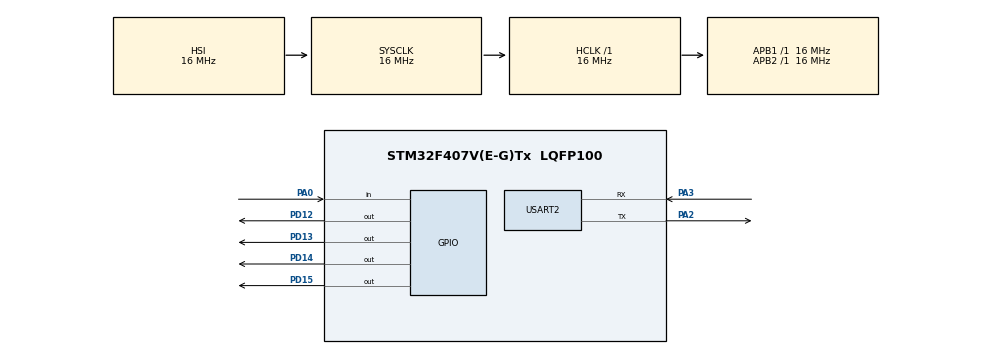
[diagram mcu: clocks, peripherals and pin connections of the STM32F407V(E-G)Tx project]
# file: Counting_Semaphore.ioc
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FREERTOS.Tasks01=defaultTask,0,128,StartDefaultTask,Default,NULL,Dynamic,NULL,NULL
FREERTOS.configUSE_COUNTING_SEMAPHORES=1
FREERTOS.configUSE_NEWLIB_REENTRANT=1
Mcu.Family=STM32F4
Mcu.Name=STM32F407V(E-G)Tx
Mcu.Package=LQFP100
NVIC.PriorityGroup=NVIC_PRIORITYGROUP_4
NVIC.TIM1_UP_TIM10_IRQn=true\:15\:0\:false\:false\:true\:false\:false\:true\:true
NVIC.TimeBase=TIM1_UP_TIM10_IRQn
NVIC.TimeBaseIP=TIM1
PA0-WKUP.Signal=GPIO_Input
PA13.Mode=Serial_Wire
PA13.Signal=SYS_JTMS-SWDIO
PA14.Mode=Serial_Wire
PA14.Signal=SYS_JTCK-SWCLK
PA2.Mode=Asynchronous
PA2.Signal=USART2_TX
PA3.Mode=Asynchronous
PA3.Signal=USART2_RX
PD12.Signal=GPIO_Output
PD13.Signal=GPIO_Output
PD14.Signal=GPIO_Output
PD15.Signal=GPIO_Output
PH0-OSC_IN.Mode=HSE-External-Oscillator
PH0-OSC_IN.Signal=RCC_OSC_IN
PH1-OSC_OUT.Mode=HSE-External-Oscillator
PH1-OSC_OUT.Signal=RCC_OSC_OUT
ProjectManager.HeapSize=0x200
ProjectManager.StackSize=0x400
ProjectManager.TargetToolchain=STM32CubeIDE
RCC.AHBFreq_Value=16000000
RCC.APB1Freq_Value=16000000
RCC.APB2Freq_Value=16000000
RCC.CortexFreq_Value=16000000
RCC.HSE_VALUE=25000000
RCC.HSI_VALUE=16000000
RCC.LSE_VALUE=32768
RCC.SYSCLKFreq_VALUE=16000000
RCC.VCOOutputFreq_Value=192000000
USART2.VirtualMode=VM_ASYNC
VP_FREERTOS_VS_CMSIS_V1.Mode=CMSIS_V1
VP_SYS_VS_tim1.Mode=TIM1
board=custom

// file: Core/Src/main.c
/* USER CODE BEGIN Header */
/**
  ******************************************************************************
  * @file           : main.c
  * @brief          : Main program body
  ******************************************************************************
  * @attention
  *
  * Copyright (c) 2023 STMicroelectronics.
  * All rights reserved.
  *
  * This software is licensed under terms that can be found in the LICENSE file
  * in the root directory of this software component.
  * If no LICENSE file comes with this software, it is provided AS-IS.
  *
  ******************************************************************************
  */
/* USER CODE END Header */
#include "main.h"
//#include "cmsis_os.h"

/* USER CODE BEGIN Includes */
#include "FreeRTOS.h"
#include "task.h"
#include "timers.h"
#include "queue.h"
#include "semphr.h"
#include "event_groups.h"

#include "stdlib.h"
#include "string.h"
/* USER CODE END Includes */

UART_HandleTypeDef huart2;

void SystemClock_Config(void);
static void MX_GPIO_Init(void);
static void MX_USART2_UART_Init(void);

/* USER CODE BEGIN 0 */
TaskHandle_t HPThandler;
void HPT_Task(void *pvParameters);

TaskHandle_t LPThandler;
void LPT_Task(void *pvParameters);

TaskHandle_t MPThandler;
void MPT_Task(void *pvParameters);

TaskHandle_t VLPThandler;
void VLPT_Task(void *pvParameters);

SemaphoreHandle_t CountingSem;

int resource[3] = {111, 222, 333};
int _index = 0;

uint8_t rx_data = 0;
/* USER CODE END 0 */

int main(void)
{

  /* MCU Configuration--------------------------------------------------------*/

  /* Reset of all peripherals, Initializes the Flash interface and the Systick. */
  HAL_Init();

  /* Configure the system clock */
  SystemClock_Config();

  /* Initialize all configured peripherals */
  MX_GPIO_Init();
  MX_USART2_UART_Init();
  /* USER CODE BEGIN 2 */

  HAL_UART_Receive_IT(&huart2, &rx_data, 1);

  CountingSem = xSemaphoreCreateCounting(3, 0);
  if(CountingSem == NULL) HAL_UART_Transmit(&huart2, (uint8_t *)"Unable to create Semaphore\n", 28, 100);
  else HAL_UART_Transmit(&huart2, (uint8_t *)"Semaphore created successfully\n", 41, 100);

  xTaskCreate(HPT_Task, "HPT", 128, NULL, 3, &HPThandler);
  xTaskCreate(LPT_Task, "LPT", 128, NULL, 1, &LPThandler);
  xTaskCreate(MPT_Task, "MPT", 128, NULL, 2, &MPThandler);
  xTaskCreate(VLPT_Task, "VLPT", 128, NULL, 0, &VLPThandler);
  /* USER CODE END 2 */

  vTaskStartScheduler();
  /* We should never get here as control is now taken by the scheduler */
  /* Infinite loop */
  while (1)
  {

  }
}

void SystemClock_Config(void)
{
  RCC_OscInitTypeDef RCC_OscInitStruct = {0};
  RCC_ClkInitTypeDef RCC_ClkInitStruct = {0};

  /** Configure the main internal regulator output voltage
  */
  __HAL_RCC_PWR_CLK_ENABLE();
  __HAL_PWR_VOLTAGESCALING_CONFIG(PWR_REGULATOR_VOLTAGE_SCALE1);

  /** Initializes the RCC Oscillators according to the specified parameters
  * in the RCC_OscInitTypeDef structure.
  */
  RCC_OscInitStruct.OscillatorType = RCC_OSCILLATORTYPE_HSI;
  RCC_OscInitStruct.HSIState = RCC_HSI_ON;
  RCC_OscInitStruct.HSICalibrationValue = RCC_HSICALIBRATION_DEFAULT;
  RCC_OscInitStruct.PLL.PLLState = RCC_PLL_NONE;
  if (HAL_RCC_OscConfig(&RCC_OscInitStruct) != HAL_OK)
  {
    Error_Handler();
  }

  /** Initializes the CPU, AHB and APB buses clocks
  */
  RCC_ClkInitStruct.ClockType = RCC_CLOCKTYPE_HCLK|RCC_CLOCKTYPE_SYSCLK
                              |RCC_CLOCKTYPE_PCLK1|RCC_CLOCKTYPE_PCLK2;
  RCC_ClkInitStruct.SYSCLKSource = RCC_SYSCLKSOURCE_HSI;
  RCC_ClkInitStruct.AHBCLKDivider = RCC_SYSCLK_DIV1;
  RCC_ClkInitStruct.APB1CLKDivider = RCC_HCLK_DIV1;
  RCC_ClkInitStruct.APB2CLKDivider = RCC_HCLK_DIV1;

  if (HAL_RCC_ClockConfig(&RCC_ClkInitStruct, FLASH_LATENCY_0) != HAL_OK)
  {
    Error_Handler();
  }
}

static void MX_USART2_UART_Init(void)
{

  huart2.Instance = USART2;
  huart2.Init.BaudRate = 115200;
  huart2.Init.WordLength = UART_WORDLENGTH_8B;
  huart2.Init.StopBits = UART_STOPBITS_1;
  huart2.Init.Parity = UART_PARITY_NONE;
  huart2.Init.Mode = UART_MODE_TX_RX;
  huart2.Init.HwFlowCtl = UART_HWCONTROL_NONE;
  huart2.Init.OverSampling = UART_OVERSAMPLING_16;
  if (HAL_UART_Init(&huart2) != HAL_OK)
  {
    Error_Handler();
  }

}

static void MX_GPIO_Init(void)
{
  GPIO_InitTypeDef GPIO_InitStruct = {0};

  /* GPIO Ports Clock Enable */
  __HAL_RCC_GPIOH_CLK_ENABLE();
  __HAL_RCC_GPIOA_CLK_ENABLE();
  __HAL_RCC_GPIOD_CLK_ENABLE();

  /*Configure GPIO pin Output Level */
  HAL_GPIO_WritePin(GPIOD, GPIO_PIN_12|GPIO_PIN_13|GPIO_PIN_14|GPIO_PIN_15, GPIO_PIN_RESET);

  /*Configure GPIO pin : PA0 */
  GPIO_InitStruct.Pin = GPIO_PIN_0;
  GPIO_InitStruct.Mode = GPIO_MODE_INPUT;
  GPIO_InitStruct.Pull = GPIO_NOPULL;
  HAL_GPIO_Init(GPIOA, &GPIO_InitStruct);

  /*Configure GPIO pins : PD12 PD13 PD14 PD15 */
  GPIO_InitStruct.Pin = GPIO_PIN_12|GPIO_PIN_13|GPIO_PIN_14|GPIO_PIN_15;
  GPIO_InitStruct.Mode = GPIO_MODE_OUTPUT_PP;
  GPIO_InitStruct.Pull = GPIO_NOPULL;
  GPIO_InitStruct.Speed = GPIO_SPEED_FREQ_LOW;
  HAL_GPIO_Init(GPIOD, &GPIO_InitStruct);

}

/* USER CODE BEGIN 4 */
void HPT_Task (void *pvParameters)
{
	char sresource[3];
	int semcount = 0;
	char ssemcount[2];

	// Give 3 semaphores at the beginning..
	xSemaphoreGive(CountingSem);
	xSemaphoreGive(CountingSem);
	xSemaphoreGive(CountingSem);

	while (1)
	{
		char str[150];
		strcpy(str, "Entered HPT Task\n About to ACQUIRE the Semaphore\n ");
		semcount = uxSemaphoreGetCount(CountingSem);
		itoa (semcount, ssemcount, 10);
		strcat (str, "Tokens available are: ");
		strcat (str, ssemcount);
		strcat (str, "\n\n");
		HAL_UART_Transmit(&huart2, (uint8_t *)str, strlen (str), HAL_MAX_DELAY);

		xSemaphoreTake(CountingSem, portMAX_DELAY);

		itoa (resource[_index], sresource, 10);
		strcpy (str, "Leaving HPT Task\n Data ACCESSED is:: ");
		strcat (str, sresource);
		strcat (str, "\n Not releasing the Semaphore\n\n\n");
		HAL_UART_Transmit(&huart2, (uint8_t *)str, strlen (str), HAL_MAX_DELAY);

		_index++;
		if (_index>2) _index=0;

//		vTaskDelay(3000);
		vTaskDelete(NULL);
	}
}

void LPT_Task (void *pvParameters)
{
	char sresource[3];

	while (1)
	{
		char str[150];
		strcpy(str, "Entered LPT Task\n About to ACQUIRE the Semaphore\n ");
		HAL_UART_Transmit(&huart2, (uint8_t *)str, strlen (str), HAL_MAX_DELAY);

		xSemaphoreTake(CountingSem, portMAX_DELAY);

		itoa (resource[_index], sresource, 10);
		strcpy (str, "Leaving LPT Task\n Data ACCESSED is:: ");
		strcat (str, sresource);
		strcat (str, "\n Not releasing the Semaphore\n\n\n");
		HAL_UART_Transmit(&huart2, (uint8_t *)str, strlen (str), HAL_MAX_DELAY);

		_index++;
		if (_index>2) _index=0;

//		vTaskDelay(3000);
		vTaskDelete(NULL);
	}
}

void MPT_Task (void *pvParameters)
{
	char sresource[3];

	while (1)
	{
		char str[150];
		strcpy(str, "Entered MPT Task\n About to ACQUIRE the Semaphore\n ");
		HAL_UART_Transmit(&huart2, (uint8_t *)str, strlen (str), HAL_MAX_DELAY);

		xSemaphoreTake(CountingSem, portMAX_DELAY);

		itoa (resource[_index], sresource, 10);
		strcpy (str, "Leaving MPT Task\n Data ACCESSED is:: ");
		strcat (str, sresource);
		strcat (str, "\n Not releasing the Semaphore\n\n\n");
		HAL_UART_Transmit(&huart2, (uint8_t *)str, strlen (str), HAL_MAX_DELAY);

		_index++;
		if (_index>2) _index=0;

//		vTaskDelay(3000);
		vTaskDelete(NULL);
	}
}

void VLPT_Task (void *pvParameters)
{
	char sresource[3];

	while (1)
	{
		char str[150];
		strcpy(str, "Entered VLPT Task\n About to ACQUIRE the Semaphore\n ");
		HAL_UART_Transmit(&huart2, (uint8_t *)str, strlen (str), HAL_MAX_DELAY);

		xSemaphoreTake(CountingSem, portMAX_DELAY);

		itoa (resource[_index], sresource, 10);
		strcpy (str, "Leaving VLPT Task\n Data ACCESSED is:: ");
		strcat (str, sresource);
		strcat (str, "\n Not releasing the Semaphore\n\n\n");
		HAL_UART_Transmit(&huart2, (uint8_t *)str, strlen (str), HAL_MAX_DELAY);

		_index++;
		if (_index>2) _index=0;

		vTaskDelay(3000);
//		vTaskDelete(NULL);
	}
}

void HAL_UART_RxCpltCallback(UART_HandleTypeDef *huart)
{
	HAL_UART_Receive_IT(huart, &rx_data, 1);
	if (rx_data == 'r')
	{
		// release the semaphore here
		 /* The xHigherPriorityTaskWoken parameter must be initialized to pdFALSE as
		 it will get set to pdTRUE inside the interrupt safe API function if a
		 context switch is required. */
		BaseType_t xHigherPriorityTaskWoken = pdFALSE;

		xSemaphoreGiveFromISR(CountingSem, &xHigherPriorityTaskWoken);  // ISR SAFE VERSION
		xSemaphoreGiveFromISR(CountingSem, &xHigherPriorityTaskWoken);  // ISR SAFE VERSION
		xSemaphoreGiveFromISR(CountingSem, &xHigherPriorityTaskWoken);  // ISR SAFE VERSION

		/* Pass the xHigherPriorityTaskWoken value into portEND_SWITCHING_ISR(). If
		 xHigherPriorityTaskWoken was set to pdTRUE inside xSemaphoreGiveFromISR()
		 then calling portEND_SWITCHING_ISR() will request a context switch. If
		 xHigherPriorityTaskWoken is still pdFALSE then calling
		 portEND_SWITCHING_ISR() will have no effect */

		portEND_SWITCHING_ISR( xHigherPriorityTaskWoken );
	}
}
/* USER CODE END 4 */

void HAL_TIM_PeriodElapsedCallback(TIM_HandleTypeDef *htim)
{
  if (htim->Instance == TIM1) {
    HAL_IncTick();
  }
}

void Error_Handler(void)
{
  __disable_irq();
  while (1)
  {
  }
}
